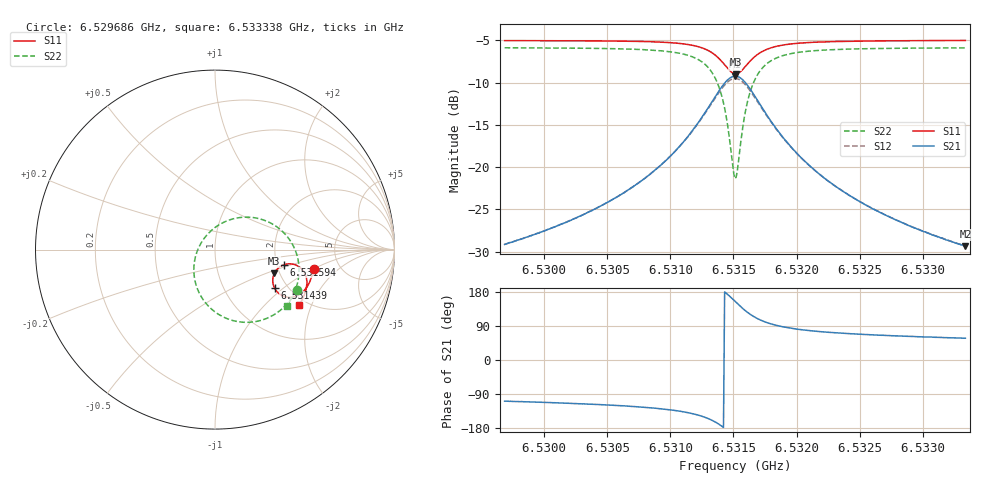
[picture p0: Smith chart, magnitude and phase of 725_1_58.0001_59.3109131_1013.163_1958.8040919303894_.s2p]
#  HZ  S  RI  R  50.00
! Rohde & Schwarz Vector Network Analyzer
! Rohde-Schwarz,ZNB20-2Port,1311601062101988,3.16
! Created: UTC 3/21/2024, 1:22:50 AM
! freq[Hz]  re:S11  im:S11  re:S21  im:S21  re:S12  im:S12  re:S22  im:S22
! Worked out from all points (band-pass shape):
!   401 points, 6.529686 GHz to 6.533338 GHz, reference 50 ohm
!   highest |S21| = -9.23 dB at 6.531512 GHz (marker M1); lowest = -29.4 dB at 6.533338 GHz (marker M2)
!   |S21| within 3 dB of the highest: 6.531331 GHz to 6.531696 GHz (364.9 kHz wide, 0.00559 % of centre)
!   lowest |S11| = -9.0 dB at 6.531521 GHz (marker M3), VSWR 2.11, Z = 93.8 - j28.4 ohm
!   |S11| at or under -10 dB: nowhere
!   |S22| runs from -21.4 to -5.9 dB; largest |S21 - S12| = 0.015
!   S11 on the Smith chart (normalised r, x): 6.529686 GHz: 3.21, -0.99; 6.531439 GHz: 1.71, -0.87; 6.531594 GHz: 2.19, -0.44; 6.533338 GHz: 1.81, -1.64
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6.5296858e9  0.5501 -0.1057  -0.0111 -0.033  -0.0118 -0.0328  0.4562 -0.2239
6.5302976e9  0.5362 -0.1576  -0.0226 -0.0466  -0.0236 -0.0462  0.4191 -0.282
6.5306445e9  0.5222 -0.1912  -0.0372 -0.0611  -0.0389 -0.06  0.3805 -0.324
6.5309093e9  0.503 -0.2215  -0.062 -0.0789  -0.0645 -0.0769  0.3251 -0.3649
6.5311284e9  0.4702 -0.2508  -0.1107 -0.0987  -0.1137 -0.0946  0.2282 -0.4007
6.5312837e9  0.4188 -0.2661  -0.1907 -0.0996  -0.1926 -0.091  0.0838 -0.3909
6.531375e9  0.3679 -0.2528  -0.2688 -0.0599  -0.2658 -0.0484  -0.0426 -0.3085
6.5314115e9  0.3459 -0.2349  -0.3005 -0.0227  -0.2943 -0.0112  -0.0889 -0.2399
6.5314389e9  0.332 -0.2148  -0.3193 0.0154  -0.31 0.0262  -0.1119 -0.1724
6.5314937e9  0.3224 -0.1608  -0.3242 0.1128  -0.3108 0.1179  -0.1006 -0.0125
6.5315119e9  0.3269 -0.1416  -0.313 0.1459  -0.2993 0.1485  -0.0759 0.0393
6.5315211e9  0.3306 -0.1323  -0.3051 0.1616  -0.2914 0.1629  -0.0599 0.0633
6.5315393e9  0.3408 -0.1156  -0.2844 0.1899  -0.2717 0.189  -0.0213 0.1054
6.5315941e9  0.3848 -0.084  -0.2037 0.2417  -0.1952 0.2369  0.1198 0.1758
6.5316306e9  0.4155 -0.079  -0.1497 0.2491  -0.1443 0.2443  0.2103 0.1789
6.5316671e9  0.4418 -0.0829  -0.1046 0.2425  -0.1012 0.2383  0.2848 0.1595
6.5317767e9  0.4886 -0.1142  -0.0253 0.195  -0.0238 0.1931  0.4113 0.0613
6.5319137e9  0.5082 -0.1525  0.00951 0.1429  0.0109 0.1421  0.4597 -0.042
6.5321237e9  0.5121 -0.1932  0.0225 0.0962  0.0236 0.0958  0.4676 -0.137
6.5324067e9  0.5053 -0.2301  0.0238 0.0646  0.0248 0.0642  0.4539 -0.2072
6.5327354e9  0.4936 -0.2621  0.0219 0.0458  0.0228 0.0454  0.4339 -0.2565
6.533338e9  0.4689 -0.3088  0.0183 0.0287  0.0189 0.0284  0.3988 -0.3137
